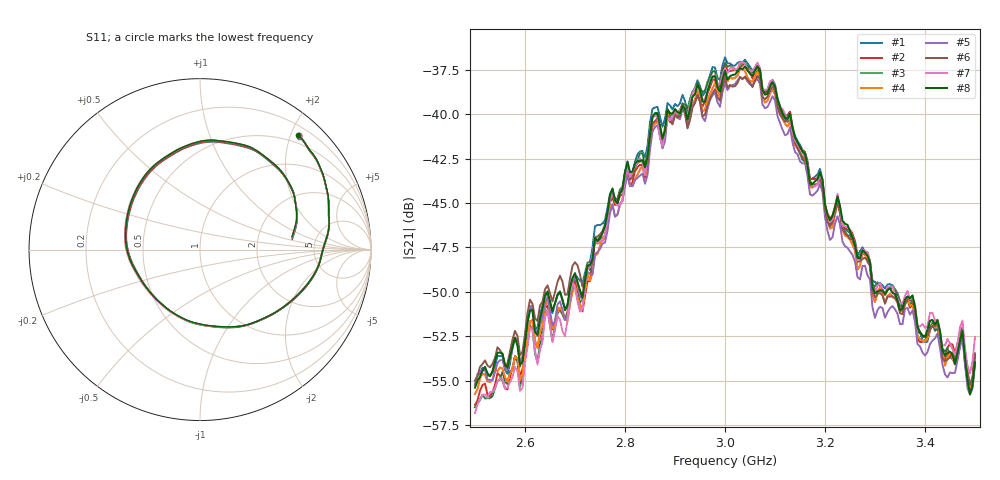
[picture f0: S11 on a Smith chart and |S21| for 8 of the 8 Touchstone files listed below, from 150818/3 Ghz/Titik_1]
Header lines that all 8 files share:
# Hz S RI R 50
! CMT, C1220, 16058040, 17.2.0/1
! Data: Format (Calibration Info)
! Freq  S11: Re/Im (F2)  S21: Re/Im (F2)  S12: Re/Im (F2)  S22: Re/Im (F2)
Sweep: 2.5 GHz to 3.5 GHz
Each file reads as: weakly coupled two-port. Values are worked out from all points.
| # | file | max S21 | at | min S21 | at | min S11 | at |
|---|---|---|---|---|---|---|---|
| 1 | Sudut_30_Titik_1.s2p | -36.80 dB | 3 GHz | -55.6 dB | 3.49 GHz | -8.3 dB | 2.985 GHz |
| 2 | Sudut_70_Titik_1.s2p | -37.13 dB | 3.04 GHz | -56.4 dB | 2.5 GHz | -8.4 dB | 2.985 GHz |
| 3 | Sudut_110_Titik_1.s2p | -37.03 dB | 3.04 GHz | -56.5 dB | 2.5 GHz | -8.3 dB | 2.985 GHz |
| 4 | Sudut_180_Titik_1.s2p | -37.45 dB | 3.03 GHz | -55.7 dB | 2.5 GHz | -8.2 dB | 2.985 GHz |
| 5 | Sudut_200_Titik_1.s2p | -37.91 dB | 3.03 GHz | -55.8 dB | 3.49 GHz | -8.3 dB | 2.99 GHz |
| 6 | Sudut_230_Titik_1.s2p | -37.84 dB | 3.065 GHz | -55.2 dB | 3.49 GHz | -8.3 dB | 2.985 GHz |
| 7 | Sudut_280_Titik_1.s2p | -37.07 dB | 3.035 GHz | -56.8 dB | 2.5 GHz | -8.2 dB | 2.985 GHz |
| 8 | Sudut_360_Titik_1.s2p | -37.31 dB | 3.065 GHz | -55.8 dB | 3.49 GHz | -8.3 dB | 2.99 GHz |
